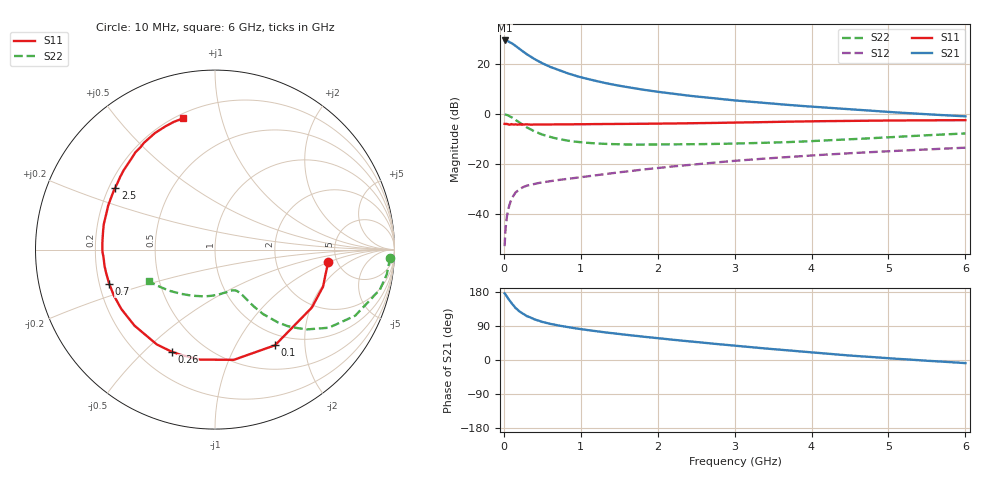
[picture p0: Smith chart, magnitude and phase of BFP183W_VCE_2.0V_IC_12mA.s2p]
! Infineon Technologies  Discrete & RF Semiconductors
! BFP183W
! VCE = 2.0 V,  IC =  12 mA
! Common Emitter S-Parameters:  Jan 2016
# GHz  S  MA  R  50
!  f  S11  S21  S12  S22
! GHz  MAG  ANG  MAG  ANG  MAG  ANG  MAG  ANG
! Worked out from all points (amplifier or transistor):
!   210 points, 10 MHz to 6 GHz, reference 50 ohm
!   highest |S21| = 29.3 dB at 10 MHz (marker M1)
!   |S21| within 3 dB of that: start of sweep to 187.8 MHz
!   unconditionally stable (mu >= 1): 1.178 GHz to 5.328 GHz
!   at 185 MHz: K = 0.26, MSG = 28.5 dB, |S12| = -30.5 dB
!   at 1.52 GHz: K = 1.10, MAG = 15.3 dB, |S12| = -23.2 dB
!   at 6 GHz: K = 0.96, MSG = 6.3 dB, |S12| = -13.4 dB
!   S11 on the Smith chart (normalised r, x): 10 MHz: 4.24, -0.97; 100 MHz: 0.83, -1.47; 260 MHz: 0.33, -0.61; 700 MHz: 0.24, -0.15; 2.5 GHz: 0.23, +0.27; 6 GHz: 0.23, +0.76
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0.01  0.6348 -6.2  29.33 176.0  0.0023 89.0  0.978 -2.6
0.02  0.6311 -12.7  29.26 173.5  0.0046 82.2  0.9705 -5.5
0.03  0.6364 -18.9  29.25 170.3  0.0068 83.7  0.9672 -8.2
0.05  0.6289 -30.9  28.56 163.9  0.0112 76.7  0.9456 -13.6
0.1  0.6292 -57.9  26.05 149.8  0.0201 65.3  0.8641 -25.2
0.15  0.623 -80.3  23.05 137.7  0.0269 56.9  0.7685 -34.5
0.2  0.6188 -97.9  20.09 128.6  0.0311 50.9  0.6777 -41.0
0.26  0.618 -113.0  17.2 120.5  0.0352 46.0  0.5891 -46.4
0.3  0.62 -121.5  15.51 115.7  0.0371 43.8  0.538 -49.1
0.4  0.6171 -136.7  12.43 107.0  0.0404 40.5  0.4478 -53.3
0.5  0.618 -147.7  10.29 100.5  0.0432 39.7  0.3879 -55.5
0.6  0.619 -155.6  8.73 95.5  0.0455 39.4  0.3474 -56.9
0.7  0.6194 -162.1  7.616 91.4  0.0479 40.2  0.3194 -57.9
0.8  0.6205 -167.1  6.69 87.7  0.05 41.3  0.2985 -58.8
1.02  0.6226 -176.2  5.306 81.0  0.0553 43.1  0.2711 -60.7
1.4  0.6307 172.2  3.913 70.9  0.0656 46.3  0.2507 -64.8
2.02  0.6437 157.6  2.749 57.2  0.0841 48.6  0.245 -74.2
2.5  0.6541 148.1  2.235 47.4  0.0994 48.6  0.2491 -83.1
3.1  0.6766 137.4  1.811 36.0  0.1193 47.2  0.259 -95.7
4.1  0.7172 122.3  1.367 18.5  0.1517 42.7  0.2914 -119.2
5.1  0.7416 111.0  1.074 3.3  0.1836 37.3  0.3494 -140.2
6  0.753 103.5  0.897 -8.2  0.2126 32.2  0.4085 -154.3
